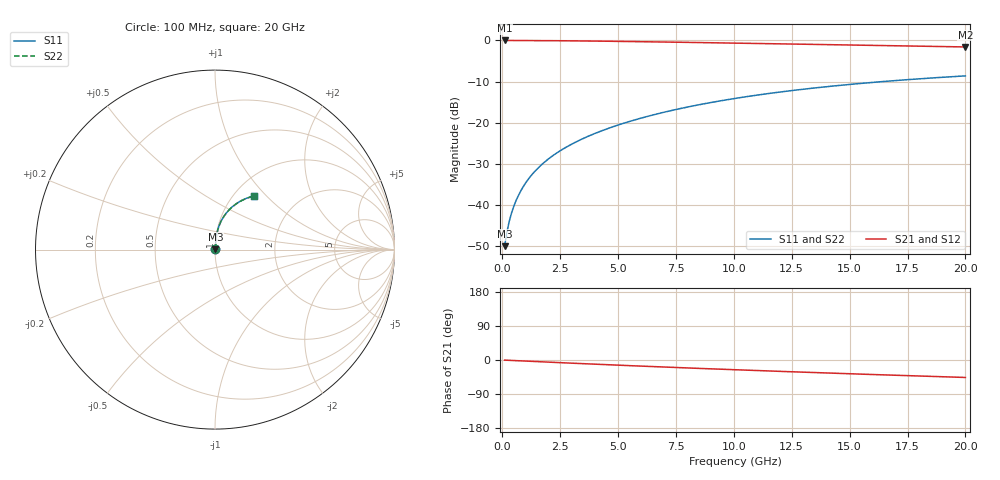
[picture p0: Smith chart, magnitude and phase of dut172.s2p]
! Touchstone file exported from HFSS 2024.1.0
!  File:  C:/UserFiles/LocalFiles/RDL_TSV_Batchsim/temp_RDL_top_172_1778685935.aedt
!  Generated:  11:27:45 PM May 13, 2026
!  Design:  RDL_top
!  Project:  temp_RDL_top_172_1778685935
!  Setup:  Setup1
!  Solution:  Sweep
! Variables:
!  dtsv = 10.80580581um
!  hbump = 3um
!  htsv = 96.53um
!  ldown = 100um
!  lrdl = 681.47um
!  p = 40
!  p1 = 50.06um
!  rhole = 1um
!  t = 450um
!  tdown = 3.915915916um
!  trdl = 4.65um
!  wdown = 15.38538539um
!  wrdl = 22.9um
# GHz S MA R 50.000000
! Terminal data exported
! Port[1] = Box2_T1
! Port[2] = Box2_T2
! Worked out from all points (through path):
!   200 points, 100 MHz to 20 GHz, reference 50 ohm
!   highest |S21| = -0.02 dB at 100 MHz (marker M1); lowest = -1.6 dB at 20 GHz (marker M2)
!   group delay of S21, straight-line fit = 6.34 ps
!   lowest |S11| = -50.0 dB at 100 MHz (marker M3), VSWR 1.01, Z = 50.2 + j0.203 ohm
!   |S11| at or under -10 dB: start of sweep to 16.43 GHz
!   |S22| runs from -50.0 to -8.6 dB; largest |S21 - S12| = 4.1e-15
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0.1  0.003176 39.6  0.9975 -0.3  0.9975 -0.3  0.003176 39.5
! Gamma 0 0 0 0
! Port Impedance 50 0 50 0
0.2  0.004716 56.3  0.9973 -0.6  0.9973 -0.6  0.004716 56.3
0.3  0.006361 64.2  0.9971 -0.9  0.9971 -0.9  0.006361 64.2
0.4  0.008032 69.0  0.997 -1.2  0.997 -1.2  0.008033 69.0
0.5  0.009727 72.3  0.9968 -1.4  0.9968 -1.4  0.009727 72.3
0.6  0.01144 74.7  0.9966 -1.7  0.9966 -1.7  0.01144 74.7
0.8  0.01492 77.9  0.9963 -2.3  0.9963 -2.3  0.01492 77.9
1.1  0.02023 80.6  0.9956 -3.1  0.9956 -3.1  0.02023 80.6
1.5  0.02741 82.5  0.9943 -4.2  0.9943 -4.2  0.02741 82.5
1.8  0.03285 83.3  0.9932 -5.1  0.9932 -5.1  0.03285 83.2
2.1  0.03833 83.8  0.9919 -5.9  0.9919 -5.9  0.03833 83.7
2.7  0.04943 84.2  0.9888 -7.6  0.9888 -7.6  0.04942 84.2
3.5  0.06453 84.2  0.9838 -9.7  0.9838 -9.7  0.06451 84.1
4.2  0.07804 83.8  0.9788 -11.6  0.9788 -11.6  0.07801 83.7
5  0.09382 83.1  0.9725 -13.6  0.9725 -13.6  0.09377 83.0
6.8  0.1304 80.6  0.9568 -18.1  0.9568 -18.1  0.1303 80.5
8.4  0.1635 77.8  0.942 -21.9  0.942 -21.9  0.1633 77.7
10.1  0.1984 74.4  0.9258 -25.8  0.9258 -25.8  0.1981 74.3
11.7  0.2303 71.0  0.9104 -29.4  0.9104 -29.4  0.23 70.9
13.4  0.2629 67.3  0.894 -33.0  0.894 -33.0  0.2625 67.2
16.7  0.3206 60.4  0.8626 -39.7  0.8626 -39.7  0.3202 60.3
20  0.3706 53.8  0.8322 -46.1  0.8322 -46.1  0.37 53.7
